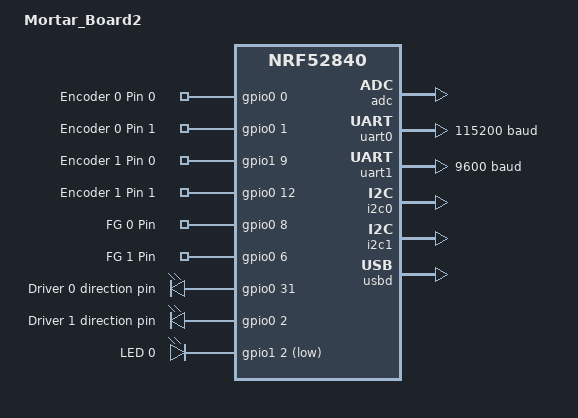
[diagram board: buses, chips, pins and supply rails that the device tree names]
// Copyright (c) 2022 Nordic Semiconductor ASA
// SPDX-License-Identifier: Apache-2.0

/dts-v1/;
#include <nordic/nrf52840_qiaa.dtsi>
#include "mortar_board2-pinctrl.dtsi"

/ {
	model = "Mortar_Board2";
	compatible = "nordic,mortar_board2";

	chosen {
		zephyr,console = &uart0;
		zephyr,shell-uart = &uart0;
		zephyr,uart-mcumgr = &uart0;
		zephyr,bt-mon-uart = &uart0;
		zephyr,bt-c2h-uart = &uart0;
		zephyr,sram = &sram0;
		zephyr,flash = &flash0;
		zephyr,code-partition = &slot0_partition;
	};
	drvinp {
		compatible = "gpio-keys";
		enc0p0: enc0pin0{
			gpios = <&gpio0 0 (GPIO_ACTIVE_HIGH)>;
			label = "Encoder 0 Pin 0";
		};
		enc0p1: enc0pin1{
			gpios = <&gpio0 1 (GPIO_ACTIVE_HIGH)>;
			label = "Encoder 0 Pin 1";
		};
		enc1p0: enc1pin0{
			gpios = <&gpio1 9 (GPIO_ACTIVE_HIGH)>;
			label = "Encoder 1 Pin 0";
		};
		enc1p1: enc1pin1{
			gpios = <&gpio0 12 (GPIO_ACTIVE_HIGH)>;
			label = "Encoder 1 Pin 1";
		};
		fg0p: fg0pin{
			gpios = <&gpio0 8 (GPIO_ACTIVE_HIGH | GPIO_PULL_UP)>; //DRV FG pin is open drain
			label = "FG 0 Pin";
		};
		fg1p: fg1pin{
			gpios = <&gpio0 6 (GPIO_ACTIVE_HIGH | GPIO_PULL_UP)>;
			label = "FG 1 Pin";
		};
	};

	drvout{
		compatible = "gpio-leds";
		dir0: dir_0{
			gpios = <&gpio0 31 GPIO_ACTIVE_HIGH>;
			label = "Driver 0 direction pin";
		};
		dir1: dir_1{
			gpios = <&gpio0 2 GPIO_ACTIVE_HIGH>;
			label = "Driver 1 direction pin";
		};

	};
	leds {
		compatible = "gpio-leds";
		led0: led_0 {
			gpios = <&gpio1 2 GPIO_ACTIVE_LOW>;
			label = "LED 0";
		};
	};
	aliases {
		dir0 = &dir0;
		dir1 = &dir1;
		enc0p0 = &enc0p0;
		enc0p1 = &enc0p1;
		enc1p0 = &enc1p0;
		enc1p1 = &enc1p1;
		fg0p = &fg0p;
		fg1p = &fg1p;
		led0 = &led0;
	};
};

&flash0 {
	partitions {
		compatible = "fixed-partitions";
		#address-cells = <1>;
		#size-cells = <1>;

		boot_partition: partition@0 {
			label = "mcuboot";
			reg = <0x0 0xc000>;
		};
		slot0_partition: partition@c000 {
			label = "image-0";
			reg = <0xc000 0x72000>;
		};
		slot1_partition: partition@7e000 {
			label = "image-1";
			reg = <0x7e000 0x72000>;
		};
		scratch_partition: partition@f0000 {
			label = "image-scratch";
			reg = <0xf0000 0xa000>;
		};
		storage_partition: partition@fa000 {
			label = "storage";
			reg = <0xfa000 0x6000>;
		};
	};
};

&adc {
	status = "okay";
};

&gpiote {
	status = "okay";
};

&gpio0 {
	status = "okay";
};

&gpio1 {
	status = "okay";
};

&uart0 {
	compatible = "nordic,nrf-uarte";
	status = "okay";
	current-speed = <115200>;
	pinctrl-0 = <&uart0_default>;
	pinctrl-1 = <&uart0_sleep>;
	pinctrl-names = "default", "sleep";

};

&uart1 {
	status = "okay";
	current-speed = <9600>;
	pinctrl-0 = <&uart1_default>;
	pinctrl-1 = <&uart1_sleep>;
	pinctrl-names = "default", "sleep";
};

&i2c0 {
	compatible = "nordic,nrf-twi";
	status = "okay";
	pinctrl-0 = <&i2c0_default>;
	pinctrl-1 = <&i2c0_sleep>;
	pinctrl-names = "default", "sleep";
};

&i2c1 {
	compatible = "nordic,nrf-twi";
	status = "okay";
	pinctrl-0 = <&i2c1_default>;
	pinctrl-1 = <&i2c1_sleep>;
	pinctrl-names = "default", "sleep";
};
&spi0 {
	compatible = "nordic,nrf-spi";
	/* Cannot be used together with i2c0. */
	status = "disabled";
	pinctrl-0 = <&spi0_default>;
	pinctrl-1 = <&spi0_sleep>;
	pinctrl-names = "default", "sleep";
};

&spi1 {
	compatible = "nordic,nrf-spi";
	status = "disabled";
	pinctrl-0 = <&spi1_default>;
	pinctrl-1 = <&spi1_sleep>;
	pinctrl-names = "default", "sleep";
};

&spi2 {
	compatible = "nordic,nrf-spi";
	status = "disabled";
	pinctrl-0 = <&spi2_default>;
	pinctrl-1 = <&spi2_sleep>;
	pinctrl-names = "default", "sleep";
};

zephyr_udc0: &usbd {
	compatible = "nordic,nrf-usbd";
	status = "okay";
};
